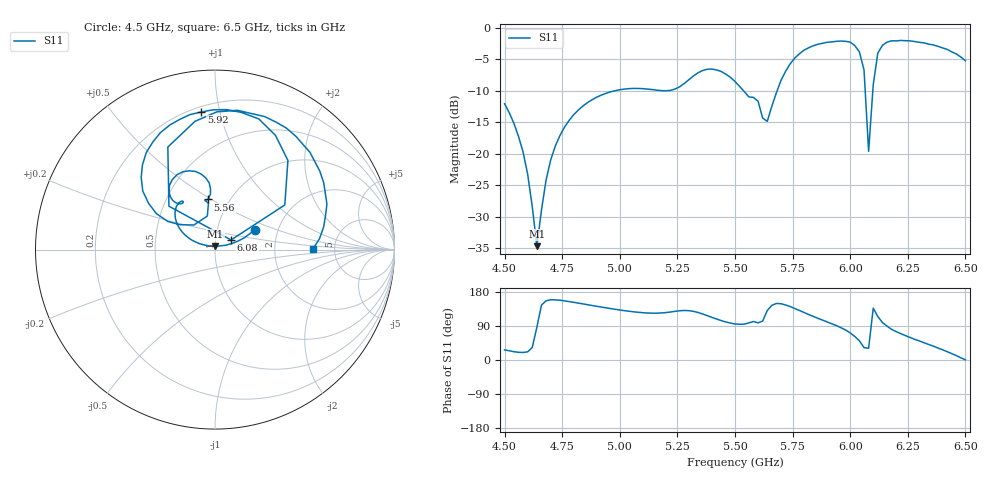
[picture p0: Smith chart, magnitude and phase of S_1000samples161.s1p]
! TOUCHSTONE file generated by CST MICROWAVE STUDIO
! Date and time: Thu Oct 27 05:10:39 2022
! Project name: L.cst
! Parameters = {Di=1.27; Epsilon_r=1.56; InnerDiameter=1.27; Length=2; Lf=10; Lg=60; OuterConductorThickness=0.2921; OuterDiameter=3.6; Wf=3; Wp=41.2; de=1.5; df=6.8; g=0.8; gx=2.57812; gy=0.976789; h=2.34; hf=1.524; px=14.9936; py=10.2707; w=9.7; wx=12.4155; wy=9.29389}
! Header version: 2018
! Port assignment regex: !\s*Touchstone port\s*([0-9]+)\s*=\s*(CST MWS port|CST DS port)\s*([0-9]+|Zmin|Zmax)\s*\(\"(.*)\"\)(\s*mode\s*([0-9]+))?.*
! Touchstone port assignment:
! Touchstone port 1 = CST MWS port 1 ("")
# GHz S DB R 50
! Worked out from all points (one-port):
!   101 points, 4.5 GHz to 6.5 GHz, reference 50 ohm
!   lowest |S11| = -34.7 dB at 4.64 GHz (marker M1), VSWR 1.04, Z = 50.1 + j1.85 ohm
!   |S11| at or under -10 dB: start of sweep to 4.981 GHz; 5.190388 GHz to 5.203311 GHz (12.92 MHz wide, 0.249 % of centre); 5.537 GHz to 5.683 GHz (146.4 MHz wide, 2.61 % of centre)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
!   S11 on the Smith chart (normalised r, x): 4.5 GHz: 1.52, +0.36; 5.56 GHz: 0.80, +0.48; 5.92 GHz: 0.23, +0.88; 6.08 GHz: 1.19, +0.13; 6.5 GHz: 3.41, +0.05
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4.5  -12.07 26.7
4.58  -19.70 19.9
4.6  -23.24 21.5
4.64  -34.66 86.3
4.68  -24.16 156.1
4.7  -20.98 159.0
4.76  -15.77 156.0
4.86  -11.88 145.9
5  -9.85 132.0
5.26  -9.38 129.9
5.38  -6.60 117.0
5.5  -8.54 95.0
5.56  -10.99 97.9
5.64  -14.87 130.5
5.7  -8.34 148.5
5.76  -4.81 135.7
5.84  -2.87 115.0
5.92  -2.27 95.6
6  -2.29 71.5
6.04  -3.85 50.7
6.06  -6.71 32.6
6.08  -19.62 31.0
6.1  -9.05 136.7
6.12  -4.03 114.7
6.16  -2.30 89.3
6.26  -2.10 59.5
6.38  -2.95 31.8
6.5  -5.25 0.6
